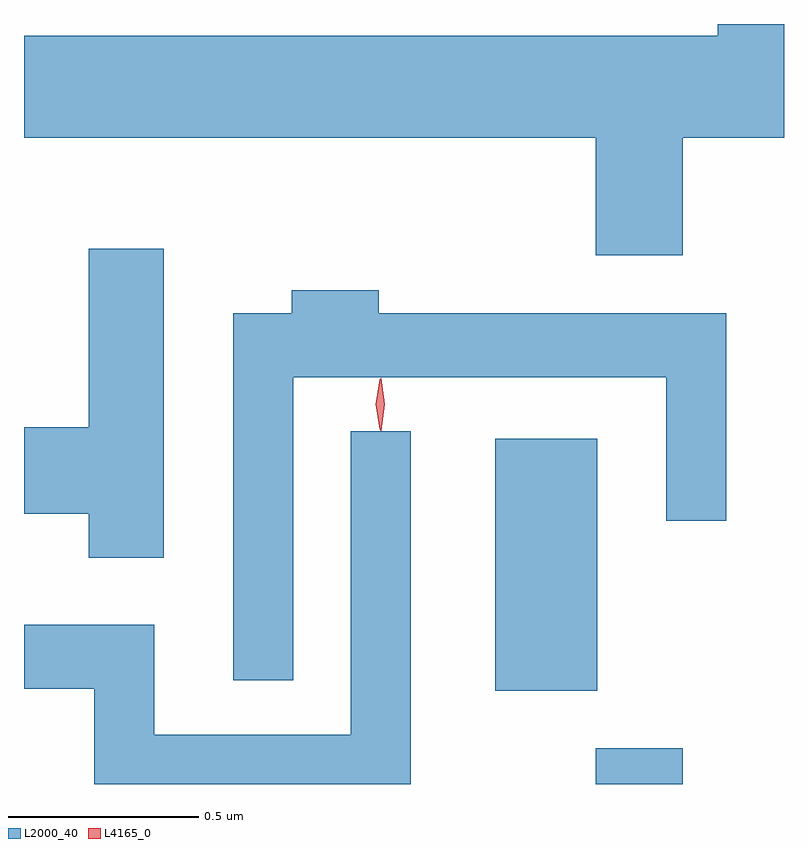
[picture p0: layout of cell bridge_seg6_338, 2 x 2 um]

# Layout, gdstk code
import gdstk
lib = gdstk.Library(unit=1e-6, precision=1e-09)
def R(c, l, rs):  # rectangles x0, y0, x1, y1
    for r in rs: c.add(gdstk.rectangle(r[:2], r[2:], *l))
def P(c, l, *ps):  # polygons
    for p in ps: c.add(gdstk.Polygon(p, *l))
L2000_40 = (2000, 40)
L4165_0 = (4165, 0)

bridge_seg6_338 = lib.new_cell('bridge_seg6_338')
R(bridge_seg6_338, L2000_40, [(1327.371,1559.435,1327.599,1559.529), (1327.106,1559.681,1327.374,1560.344)])
P(bridge_seg6_338, L2000_40, [(1327.599,1561.136),(1327.866,1561.136),(1327.866,1561.435),(1327.691,1561.435),(1327.691,1561.404),(1325.866,1561.404),(1325.866,1561.136),(1327.371,1561.136),(1327.371,1560.826),(1327.599,1560.826)],
  [(1326.234,1560.844),(1326.036,1560.844),(1326.036,1560.374),(1325.866,1560.374),(1325.866,1560.146),(1326.036,1560.146),(1326.036,1560.031),(1326.234,1560.031)],
  [(1326.574,1560.506),(1327.556,1560.506),(1327.556,1560.128),(1327.714,1560.128),(1327.714,1560.674),(1326.799,1560.674),(1326.799,1560.734),(1326.571,1560.734),(1326.571,1560.674),(1326.416,1560.674),(1326.416,1559.708),(1326.574,1559.708)],
  [(1326.884,1560.363),(1326.726,1560.363),(1326.726,1559.564),(1326.209,1559.564),(1326.209,1559.854),(1325.866,1559.854),(1325.866,1559.686),(1326.051,1559.686),(1326.051,1559.435),(1326.884,1559.435)])
P(bridge_seg6_338, L4165_0, [(1326.805,1560.364),(1326.805,1560.364),(1326.795,1560.434),(1326.805,1560.503),(1326.805,1560.503),(1326.806,1560.503),(1326.815,1560.434),(1326.806,1560.364)],
  [(1326.803,1560.367),(1326.802,1560.368),(1326.792,1560.434),(1326.802,1560.5),(1326.802,1560.5),(1326.803,1560.5),(1326.812,1560.434),(1326.803,1560.368)])

lib.write_gds('bridge_seg6_338.gds')
